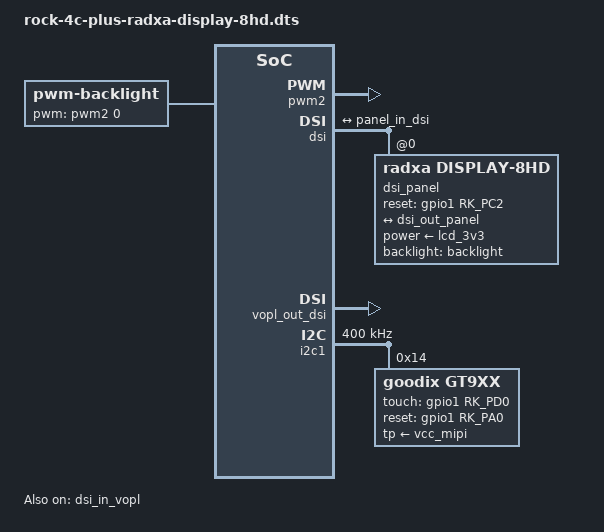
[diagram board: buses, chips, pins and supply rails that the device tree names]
/dts-v1/;
/plugin/;

#include <dt-bindings/gpio/gpio.h>
#include <dt-bindings/pinctrl/rockchip.h>
#include <dt-bindings/interrupt-controller/irq.h>

/ {
	metadata {
		title = "Enable Radxa Display 8HD";
		compatible = "radxa,rock-4c-plus";
		category = "display";
		description = "Enable Radxa Display 8HD";
	};

	fragment@0 {
		target-path = "/";

		__overlay__ {
			backlight: backlight {
				status = "okay";
				compatible = "pwm-backlight";
				pwms = <&pwm2 0 25000 0>;
				brightness-levels = <
					  0  20  20  21  21  22  22  23
					 23  24  24  25  25  26  26  27
					 27  28  28  29  29  30  30  31
					 31  32  32  33  33  34  34  35
					 35  36  36  37  37  38  38  39
					 40  41  42  43  44  45  46  47
					 48  49  50  51  52  53  54  55
					 56  57  58  59  60  61  62  63
					 64  65  66  67  68  69  70  71
					 72  73  74  75  76  77  78  79
					 80  81  82  83  84  85  86  87
					 88  89  90  91  92  93  94  95
					 96  97  98  99 100 101 102 103
					104 105 106 107 108 109 110 111
					112 113 114 115 116 117 118 119
					120 121 122 123 124 125 126 127
					128 129 130 131 132 133 134 135
					136 137 138 139 140 141 142 143
					144 145 146 147 148 149 150 151
					152 153 154 155 156 157 158 159
					160 161 162 163 164 165 166 167
					168 169 170 171 172 173 174 175
					176 177 178 179 180 181 182 183
					184 185 186 187 188 189 190 191
					192 193 194 195 196 197 198 199
					200 201 202 203 204 205 206 207
					208 209 210 211 212 213 214 215
					216 217 218 219 220 221 222 223
					224 225 226 227 228 229 230 231
					232 233 234 235 236 237 238 239
					240 241 242 243 244 245 246 247
					248 249 250 251 252 253 254 255
				>;
				default-brightness-level = <200>;
			};
		};
	};

	fragment@1 {
		target = <&pwm2>;

		__overlay__ {
			status = "okay";
		};
	};

	fragment@2 {
		target = <&dsi>;

		__overlay__ {
			status = "okay";

			#address-cells = <1>;
			#size-cells = <0>;

			rockchip,lane-rate = <480>;

			dsi_panel: panel@0 {
				status = "okay";
				compatible = "radxa,display-8hd";
				reg = <0>;

				backlight = <&backlight>;
				power-supply = <&lcd_3v3>;

				reset-gpios = <&gpio1 RK_PC2 GPIO_ACTIVE_HIGH>;

				pinctrl-names = "default";
				pinctrl-0 = <&lcd_panel_reset>;

				ports {
					#address-cells = <1>;
					#size-cells = <0>;
					port@0 {
						reg = <0>;
						panel_in_dsi: endpoint {
							remote-endpoint = <&dsi_out_panel>;
						};
					};
				};
			};

			ports {
				#address-cells = <1>;
				#size-cells = <0>;

				port@1 {
					reg = <1>;
					dsi_out_panel: endpoint {
						remote-endpoint = <&panel_in_dsi>;
					};
				};
			};
		};
	};

	fragment@3 {
		target = <&vopl_out_dsi>;

		__overlay__ {
			status = "okay";
		};
	};

	fragment@4 {
		target = <&dsi_in_vopl>;

		__overlay__ {
			status = "okay";
		};
	};

	fragment@5 {
		target = <&dsi_in_vopb>;

		__overlay__ {
			status = "disabled";
		};
	};

	fragment@6 {
		target = <&route_dsi>;

		__overlay__ {
			status = "disabled";
			connect = <&vopl_out_dsi>;
		};
	};

	fragment@7 {
		target = <&i2c1>;

		__overlay__ {
			status = "okay";
			clock-frequency = <400000>;
			#address-cells = <1>;
			#size-cells = <0>;

			gt9xx: gt9xx@14 {
				status = "okay";
				compatible = "goodix,gt9xx";
				reg = <0x14>;
				pinctrl-names = "default";
				pinctrl-0 = <&gt9xx_gpio>;
				touch-gpio = <&gpio1 RK_PD0 IRQ_TYPE_LEVEL_HIGH>;
				reset-gpio = <&gpio1 RK_PA0 GPIO_ACTIVE_HIGH>;
				max-x = <800>;
				max-y = <1280>;
				tp-size = <9112>;
				tp-supply = <&vcc_mipi>;
			};
		};
	};

	fragment@8 {
		target = <&pinctrl>;

		__overlay__ {
			lcd-panel {
				lcd_panel_reset: lcd-panel-reset {
					rockchip,pins =
						<1 RK_PC2 RK_FUNC_GPIO &pcfg_pull_up>;
				};
			};

			gt9xx {
				gt9xx_gpio: gt9xx-gpio {
					rockchip,pins =
					<1 RK_PA0 RK_FUNC_GPIO &pcfg_pull_up>,
					<1 RK_PD0 RK_FUNC_GPIO &pcfg_pull_none>;
				};
			};
		};
	};

	fragment@9 {
		target = <&vcc3v3_dp>;

		__overlay__ {
			status = "disabled";
		};
	};

	fragment@10 {
		target = <&virtual_pd>;

		__overlay__ {
			status = "disabled";
		};
	};

	fragment@11 {
		target = <&tcphy0>;

		__overlay__ {
			status = "disabled";
		};
	};

	fragment@12 {
		target = <&cdn_dp>;

		__overlay__ {
			status = "disabled";
		};
	};

	fragment@13 {
		target = <&tcphy0_dp>;

		__overlay__ {
			status = "disabled";
		};
	};

	fragment@14 {
		target = <&dp_in_vopl>;

		__overlay__ {
			status = "disabled";
		};
	};

	fragment@15 {
		target = <&dp_in_vopb>;

		__overlay__ {
			status = "disabled";
		};
	};
};
